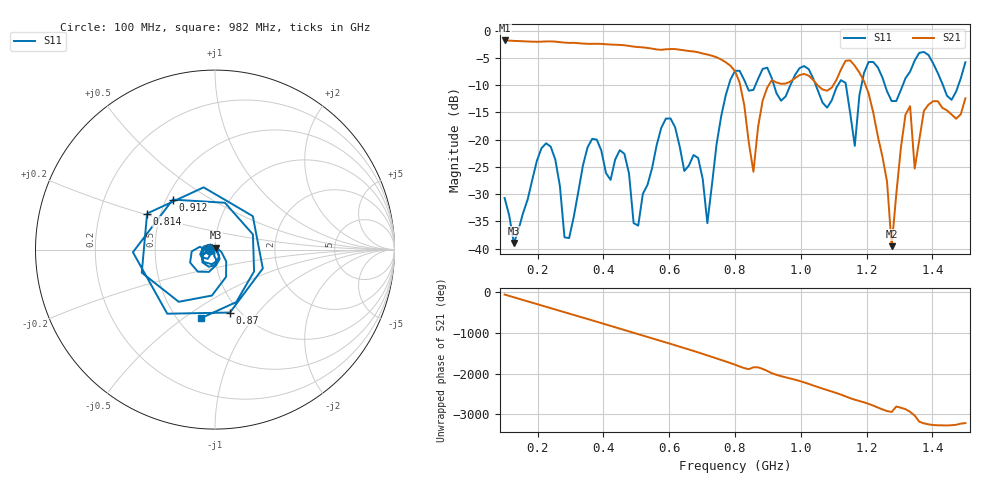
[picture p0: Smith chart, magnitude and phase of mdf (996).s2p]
! NanoVNA-App
! Date: 2025-09-25 15:46:10
! Start: 100MHz Stop: 1,5GHz Points: 101
! S-Parameter data: F S11 S21 S12 S22
# Hz S RI R 50
!  Frequency  S11_Real  S11_Imag  S21_Real  S21_Imag  S12_Real  S12_Imag  S22_Real  S22_Imag
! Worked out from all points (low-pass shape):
!   101 points, 100 MHz to 1.5 GHz, reference 50 ohm
!   highest |S21| = -1.80 dB at 100 MHz (marker M1); lowest = -39.5 dB at 1.276 GHz (marker M2)
!   |S21| within 3 dB of the highest: start of sweep to 739.6 MHz
!   lowest |S11| = -39.0 dB at 128 MHz (marker M3), VSWR 1.02, Z = 50.3 + j1.08 ohm
!   |S11| at or under -10 dB: start of sweep to 781.1 MHz; 918.4 MHz to 968.2 MHz (49.8 MHz wide, 5.28 % of centre); 1.045 GHz to 1.113 GHz (67.28 MHz wide, 6.24 % of centre) (the widest 3 of 7)
!   S12 and S22 are empty: the file has one direction only
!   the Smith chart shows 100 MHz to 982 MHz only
!   S11 on the Smith chart (normalised r, x): 100 MHz: 0.94, -0.01; 814 MHz: 0.42, +0.21; 870 MHz: 0.90, -0.73; 912 MHz: 0.54, +0.35; 982 MHz: 0.65, -0.58
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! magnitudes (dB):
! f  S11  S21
! 100 MHz  -30.7  -1.8
! 128 MHz  -39.0  -1.9
! 212 MHz  -21.6  -2.0
! 282 MHz  -37.9  -2.2
! 338 MHz  -24.7  -2.4
! 464 MHz  -22.6  -2.7
! 506 MHz  -35.8  -3.0
! 576 MHz  -17.8  -3.5
! 716 MHz  -35.3  -4.4
! 800 MHz  -7.4  -7.4
! 814 MHz  -7.4  -9.5
! 856 MHz  -10.9  -25.9
! 870 MHz  -8.9  -17.7
! 912 MHz  -8.8  -9.1
! 982 MHz  -8.2  -8.7
! 1.038 GHz  -8.8  -9.1
! 1.164 GHz  -21.1  -6.5
! 1.192 GHz  -7.8  -9.3
! 1.276 GHz  -12.9  -39.5
! 1.318 GHz  -8.7  -15.4
! 1.346 GHz  -5.5  -25.3
! 1.5 GHz  -5.8  -12.4
